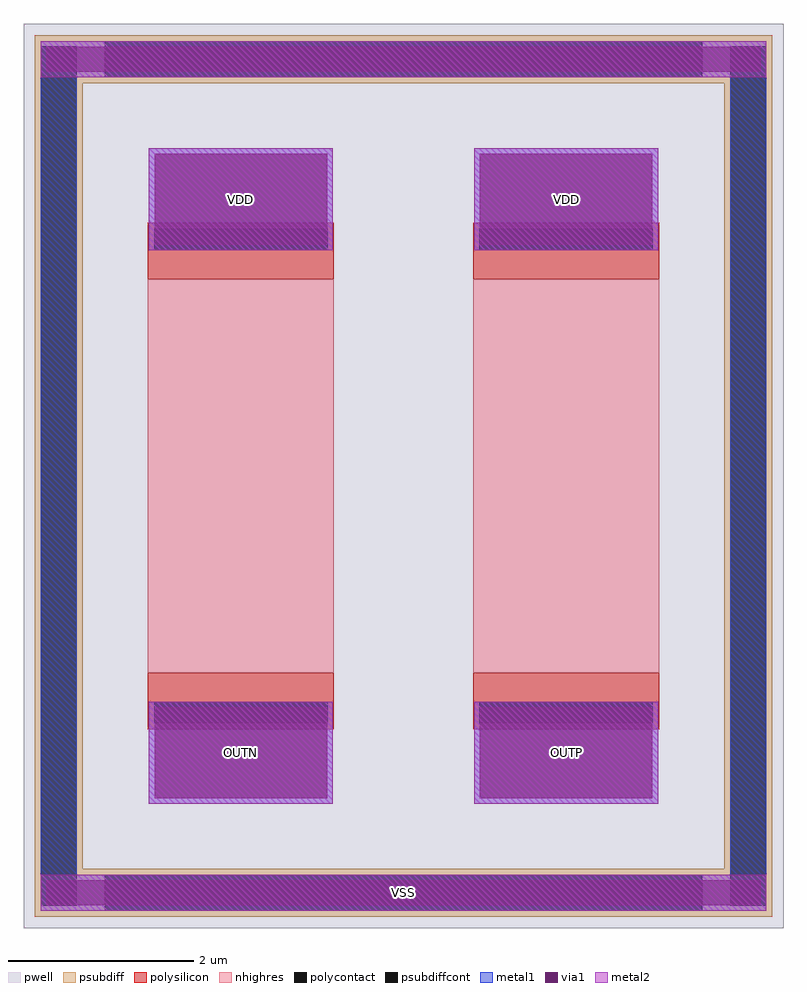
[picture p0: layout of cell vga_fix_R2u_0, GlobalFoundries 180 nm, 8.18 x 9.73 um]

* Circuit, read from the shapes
.subckt vga_fix_R2u_0 OUTN VDD OUTP VSS
XR1 VDD OUTN VSS ppolyf_u_1k r_width=2u r_length=4.23u
XR2 VDD OUTP VSS ppolyf_u_1k r_width=2u r_length=4.23u
.ends

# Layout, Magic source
magic
tech gf180mcuD
magscale 1 10
<< pwell >>
rect -468 -464 1168 1482
<< psubdiff >>
rect -444 -440 1144 -336
rect -444 1354 1144 1458
rect -444 -336 -340 1354
rect 1040 -336 1144 1354
<< polysilicon >>
rect -200 932 200 1054
rect -200 -36 200 86
rect 500 932 900 1054
rect 500 -36 900 86
<< nhighres >>
rect -200 86 200 932
rect 500 86 900 932
<< psubdiffcont >>
rect -431 -416 -353 1434
rect 1053 -416 1131 1434
rect -293 1367 993 1445
rect -293 -427 993 -349
<< polycontact >>
rect -187 995 187 1041
rect -187 -23 187 23
rect 513 995 887 1041
rect 513 -23 887 23
<< metal1 >>
rect -198 995 198 1041
rect -198 -23 198 23
rect 502 995 898 1041
rect 502 -23 898 23
rect -198 -197 198 23
rect -198 995 198 1215
rect 502 -197 898 23
rect 502 995 898 1215
rect -431 -427 1131 -349
rect -431 1367 1131 1445
rect -431 -427 -353 1445
rect 1053 -427 1131 1445
rect -431 -427 1131 -349
rect -431 1367 1131 1445
<< metal2 >>
rect -198 -197 198 23
rect -198 995 198 1215
rect 502 -197 898 23
rect 502 995 898 1215
rect -431 -427 1131 -349
rect -431 1367 1131 1445
<< via1 >>
rect -186 -185 186 11
rect -186 1007 186 1203
rect 514 -185 886 11
rect 514 1007 886 1203
rect -419 -415 1119 -361
rect -419 1379 1119 1433
<< labels >>
flabel metal2 s -198 -197 198 23 0 FreeSans 80 0 0 0 OUTN
port 1 nsew signal bidirectional
flabel metal2 s -198 995 198 1215 0 FreeSans 80 0 0 0 VDD
port 2 nsew signal bidirectional
flabel metal2 s 502 -197 898 23 0 FreeSans 80 0 0 0 OUTP
port 3 nsew signal bidirectional
flabel metal2 s 502 995 898 1215 0 FreeSans 80 0 0 0 VDD
port 2 nsew signal bidirectional
flabel metal2 s -431 -427 1131 -349 0 FreeSans 80 0 0 0 VSS
port 4 nsew signal bidirectional
<< end >>
